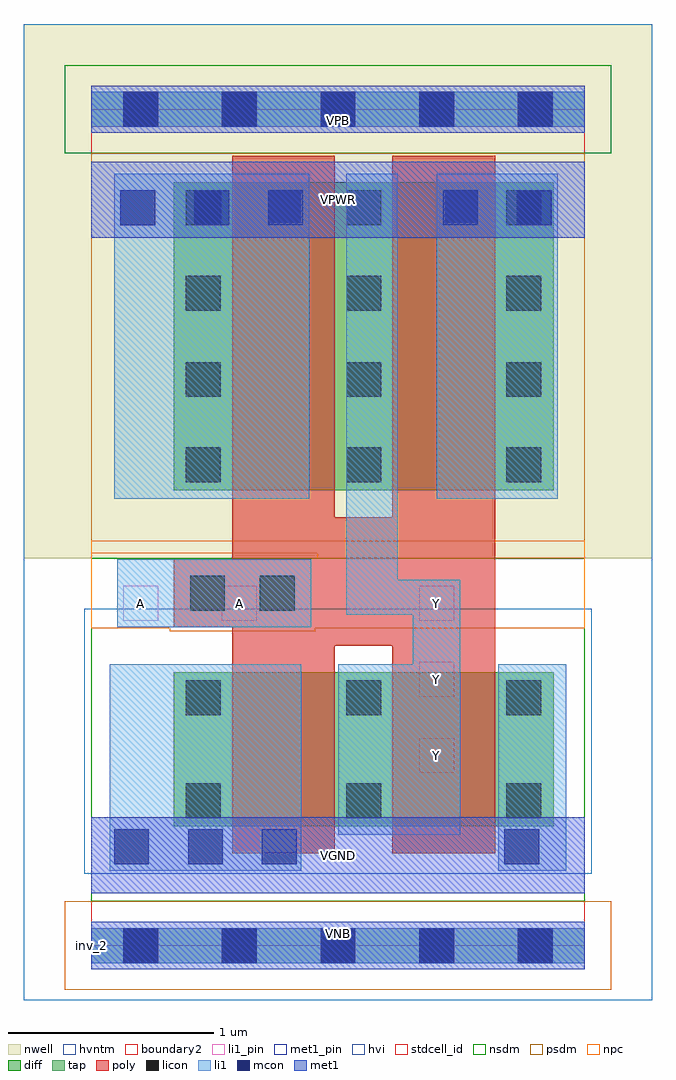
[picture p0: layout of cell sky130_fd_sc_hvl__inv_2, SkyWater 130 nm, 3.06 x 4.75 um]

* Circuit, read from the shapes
.subckt sky130_fd_sc_hvl__inv_2 A VGND VNB VPB VPWR Y
XM1 Y A VGND VNB sky130_fd_pr__nfet_g5v0d10v5 w=0.75 l=0.5 m=2
XM2 Y A VPWR VPB sky130_fd_pr__pfet_g5v0d10v5 w=1.5 l=0.5 m=2
.ends

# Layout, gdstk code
import gdstk
lib = gdstk.Library(unit=1e-6, precision=1e-09)
def R(c, l, rs):  # rectangles x0, y0, x1, y1
    for r in rs: c.add(gdstk.rectangle(r[:2], r[2:], *l))
def A(c, l, x, y, w, h, nx, ny, dx, dy):  # array of equal rectangles
    R(c, l, [(x+i*dx, y+j*dy, x+i*dx+w, y+j*dy+h) for i in range(nx) for j in range(ny)])
def P(c, l, *ps):  # polygons
    for p in ps: c.add(gdstk.Polygon(p, *l))
nwell = (64, 20)
diff = (65, 20)
tap = (65, 44)
poly = (66, 20)
licon = (66, 44)
li1_pin = (67, 16)
li1 = (67, 20)
mcon = (67, 44)
met1_pin = (68, 16)
met1 = (68, 20)
hvi = (75, 20)
stdcell_id = (81, 4)
nsdm = (93, 44)
psdm = (94, 20)
npc = (95, 20)
hvntm = (125, 20)
boundary2 = (236, 0)

sky130_fd_sc_hvl__inv_2 = lib.new_cell('sky130_fd_sc_hvl__inv_2')
R(sky130_fd_sc_hvl__inv_2, nwell, [(-0.33,1.885,2.73,4.485)])
R(sky130_fd_sc_hvl__inv_2, diff, [(0.4,0.58,2.25,1.33), (0.4,2.215,2.25,3.715)])
R(sky130_fd_sc_hvl__inv_2, tap, [(0,-0.085,2.4,0.085), (0,3.985,2.4,4.155)])
P(sky130_fd_sc_hvl__inv_2, poly, [(1.965,3.845),(1.465,3.845),(1.465,2.085),(1.185,2.085),(1.185,3.845),(0.685,3.845),(0.685,1.88),(0.4,1.88),(0.4,1.55),(0.685,1.55),(0.685,0.45),(1.185,0.45),(1.185,1.46),(1.465,1.46),(1.465,0.45),(1.965,0.45)])
A(sky130_fd_sc_hvl__inv_2, licon, 0.155, -0.085, 0.17, 0.17, 5, 2, 0.48, 4.07)
A(sky130_fd_sc_hvl__inv_2, licon, 0.46, 0.62, 0.17, 0.17, 3, 2, 0.78, 0.5)
A(sky130_fd_sc_hvl__inv_2, licon, 0.46, 2.255, 0.17, 0.17, 3, 2, 0.78, 0.415)
A(sky130_fd_sc_hvl__inv_2, licon, 0.46, 3.09, 0.17, 0.17, 3, 2, 0.78, 0.415)
R(sky130_fd_sc_hvl__inv_2, licon, [(0.48,1.63,0.65,1.8), (0.82,1.63,0.99,1.8)])
A(sky130_fd_sc_hvl__inv_2, li1_pin, 1.595, 0.84, 0.17, 0.17, 1, 3, 0, 0.37)
R(sky130_fd_sc_hvl__inv_2, li1_pin, [(0.155,1.58,0.325,1.75), (0.635,1.58,0.805,1.75)])
R(sky130_fd_sc_hvl__inv_2, li1, [(0,-0.085,2.4,0.085), (0.09,0.365,1.02,1.37), (1.98,0.365,2.31,1.37), (0.125,1.55,1.07,1.88), (0.11,2.175,1.06,3.755), (1.68,2.175,2.27,3.755), (0,3.985,2.4,4.155)])
P(sky130_fd_sc_hvl__inv_2, li1, [(1.795,1.78),(1.49,1.78),(1.49,3.755),(1.24,3.755),(1.24,1.61),(1.565,1.61),(1.565,1.37),(1.2,1.37),(1.2,0.54),(1.795,0.54)])
A(sky130_fd_sc_hvl__inv_2, mcon, 0.11, 0.395, 0.17, 0.17, 3, 1, 0.36, 0)
A(sky130_fd_sc_hvl__inv_2, mcon, 0.14, 3.505, 0.17, 0.17, 3, 1, 0.36, 0)
R(sky130_fd_sc_hvl__inv_2, mcon, [(0.155,-0.085,0.325,0.085), (0.155,-0.085,0.325,0.085), (0.635,-0.085,0.805,0.085), (0.635,-0.085,0.805,0.085), (1.115,-0.085,1.285,0.085), (1.115,-0.085,1.285,0.085), (1.595,-0.085,1.765,0.085), (1.595,-0.085,1.765,0.085), (2.075,-0.085,2.245,0.085), (2.075,-0.085,2.245,0.085), (2.01,0.395,2.18,0.565), (1.71,3.505,1.88,3.675), (2.07,3.505,2.24,3.675), (0.155,3.985,0.325,4.155), (0.155,3.985,0.325,4.155), (0.635,3.985,0.805,4.155), (0.635,3.985,0.805,4.155), (1.115,3.985,1.285,4.155), (1.115,3.985,1.285,4.155), (1.595,3.985,1.765,4.155), (1.595,3.985,1.765,4.155), (2.075,3.985,2.245,4.155), (2.075,3.985,2.245,4.155)])
R(sky130_fd_sc_hvl__inv_2, met1_pin, [(0,0,2.4,0.115), (0,0.255,2.4,0.625), (0,3.445,2.4,3.815), (0,3.955,2.4,4.07)])
R(sky130_fd_sc_hvl__inv_2, met1, [(0,-0.115,2.4,0.115), (0,0.255,2.4,0.625), (0,3.445,2.4,3.815), (0,3.955,2.4,4.185)])
R(sky130_fd_sc_hvl__inv_2, hvi, [(-0.33,-0.265,2.73,4.485)])
R(sky130_fd_sc_hvl__inv_2, stdcell_id, [(0,0,2.4,4.07)])
R(sky130_fd_sc_hvl__inv_2, nsdm, [(0,0.215,2.4,1.885), (-0.13,3.855,2.53,4.285), (0,3.855,2.4,4.07)])
R(sky130_fd_sc_hvl__inv_2, psdm, [(-0.13,-0.215,2.53,0.215)])
P(sky130_fd_sc_hvl__inv_2, psdm, [(2.4,3.855),(0,3.855),(0,1.91),(1.1,1.91),(1.1,1.885),(2.4,1.885)])
P(sky130_fd_sc_hvl__inv_2, npc, [(2.4,1.97),(0,1.97),(0,1.545),(0.38,1.545),(0.38,1.53),(1.09,1.53),(1.09,1.545),(2.4,1.545)])
R(sky130_fd_sc_hvl__inv_2, hvntm, [(-0.035,0.35,2.435,1.64)])
R(sky130_fd_sc_hvl__inv_2, boundary2, [(0,0,2.4,4.07)])
sky130_fd_sc_hvl__inv_2.add(gdstk.Label('inv_2', (0,0), layer=83, texttype=44))
sky130_fd_sc_hvl__inv_2.add(gdstk.Label('VGND', (1.2,0.44), layer=68, texttype=5))
sky130_fd_sc_hvl__inv_2.add(gdstk.Label('VNB', (1.2,0.058), layer=68, texttype=5))
sky130_fd_sc_hvl__inv_2.add(gdstk.Label('VPWR', (1.2,3.63), layer=68, texttype=5))
sky130_fd_sc_hvl__inv_2.add(gdstk.Label('VPB', (1.2,4.013), layer=68, texttype=5))
sky130_fd_sc_hvl__inv_2.add(gdstk.Label('A', (0.24,1.665), layer=67, texttype=5))
sky130_fd_sc_hvl__inv_2.add(gdstk.Label('A', (0.72,1.665), layer=67, texttype=5))
sky130_fd_sc_hvl__inv_2.add(gdstk.Label('Y', (1.68,0.925), layer=67, texttype=5))
sky130_fd_sc_hvl__inv_2.add(gdstk.Label('Y', (1.68,1.295), layer=67, texttype=5))
sky130_fd_sc_hvl__inv_2.add(gdstk.Label('Y', (1.68,1.665), layer=67, texttype=5))

lib.write_gds('sky130_fd_sc_hvl__inv_2.gds')
